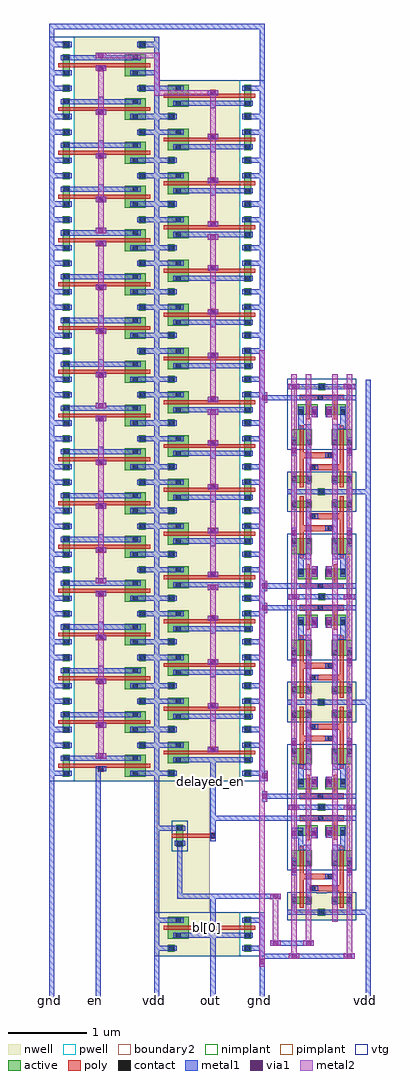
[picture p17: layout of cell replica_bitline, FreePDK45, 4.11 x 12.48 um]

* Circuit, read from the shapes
.subckt replica_bitline bl[0] delayed_en en gnd out vdd
M1 delay_chain_2/pinv_6_1/A en gnd gnd nfet w=0.09u l=0.05u
M2 delay_chain_2/pinv_6_1/Z delay_chain_2/pinv_6_1/A gnd gnd nfet w=0.09u l=0.05u
M3 delay_chain_2/pinv_6_3/Z delay_chain_2/pinv_6_1/A gnd gnd nfet w=0.09u l=0.05u
M4 delay_chain_2/pinv_6_5/Z delay_chain_2/pinv_6_1/A gnd gnd nfet w=0.09u l=0.05u
M5 delay_chain_2/pinv_6_11/A delay_chain_2/pinv_6_1/A gnd gnd nfet w=0.09u l=0.05u
M6 delay_chain_2/pinv_6_9/Z delay_chain_2/pinv_6_11/A gnd gnd nfet w=0.09u l=0.05u
M7 delay_chain_2/pinv_6_11/Z delay_chain_2/pinv_6_11/A gnd gnd nfet w=0.09u l=0.05u
M8 delay_chain_2/pinv_6_13/Z delay_chain_2/pinv_6_11/A gnd gnd nfet w=0.09u l=0.05u
M9 delay_chain_2/pinv_6_17/A delay_chain_2/pinv_6_11/A gnd gnd nfet w=0.09u l=0.05u
M10 delay_chain_2/pinv_6_17/Z delay_chain_2/pinv_6_17/A gnd gnd nfet w=0.09u l=0.05u
M11 delay_chain_2/pinv_6_19/Z delay_chain_2/pinv_6_17/A gnd gnd nfet w=0.09u l=0.05u
M12 delay_chain_2/pinv_6_21/Z delay_chain_2/pinv_6_17/A gnd gnd nfet w=0.09u l=0.05u
M13 delay_chain_2/pinv_6_25/A delay_chain_2/pinv_6_17/A gnd gnd nfet w=0.09u l=0.05u
M14 delay_chain_2/pinv_6_25/Z delay_chain_2/pinv_6_25/A gnd gnd nfet w=0.09u l=0.05u
M15 delay_chain_2/pinv_6_27/Z delay_chain_2/pinv_6_25/A gnd gnd nfet w=0.09u l=0.05u
M16 delay_chain_2/pinv_6_29/Z delay_chain_2/pinv_6_25/A gnd gnd nfet w=0.09u l=0.05u
M17 delay_chain_2/pinv_6_33/A delay_chain_2/pinv_6_25/A gnd gnd nfet w=0.09u l=0.05u
M18 gnd bl[0] out gnd nfet w=0.09u l=0.05u
M19 gnd delay_chain_2/pinv_6_57/A delayed_en gnd nfet w=0.09u l=0.05u
M20 gnd delay_chain_2/pinv_6_57/A delay_chain_2/pinv_6_61/Z gnd nfet w=0.09u l=0.05u
M21 gnd delay_chain_2/pinv_6_57/A delay_chain_2/pinv_6_59/Z gnd nfet w=0.09u l=0.05u
M22 gnd delay_chain_2/pinv_6_57/A delay_chain_2/pinv_6_57/Z gnd nfet w=0.09u l=0.05u
M23 gnd delay_chain_2/pinv_6_49/A delay_chain_2/pinv_6_57/A gnd nfet w=0.09u l=0.05u
M24 gnd delay_chain_2/pinv_6_49/A delay_chain_2/pinv_6_53/Z gnd nfet w=0.09u l=0.05u
M25 gnd delay_chain_2/pinv_6_49/A delay_chain_2/pinv_6_51/Z gnd nfet w=0.09u l=0.05u
M26 gnd delay_chain_2/pinv_6_49/A delay_chain_2/pinv_6_49/Z gnd nfet w=0.09u l=0.05u
M27 gnd delay_chain_2/pinv_6_41/A delay_chain_2/pinv_6_49/A gnd nfet w=0.09u l=0.05u
M28 gnd delay_chain_2/pinv_6_41/A delay_chain_2/pinv_6_45/Z gnd nfet w=0.09u l=0.05u
M29 gnd delay_chain_2/pinv_6_41/A delay_chain_2/pinv_6_43/Z gnd nfet w=0.09u l=0.05u
M30 gnd delay_chain_2/pinv_6_41/A delay_chain_2/pinv_6_41/Z gnd nfet w=0.09u l=0.05u
M31 gnd delay_chain_2/pinv_6_33/A delay_chain_2/pinv_6_41/A gnd nfet w=0.09u l=0.05u
M32 gnd delay_chain_2/pinv_6_33/A delay_chain_2/pinv_6_37/Z gnd nfet w=0.09u l=0.05u
M33 gnd delay_chain_2/pinv_6_33/A delay_chain_2/pinv_6_35/Z gnd nfet w=0.09u l=0.05u
M34 gnd delay_chain_2/pinv_6_33/A delay_chain_2/pinv_6_33/Z gnd nfet w=0.09u l=0.05u
M35 gnd n1 gnd gnd nfet w=0.205u l=0.05u
M36 n2 n3 gnd gnd nfet w=0.205u l=0.05u
M37 n4 n5 gnd gnd nfet w=0.205u l=0.05u
M38 n6 n7 gnd gnd nfet w=0.205u l=0.05u
M39 n8 n9 gnd gnd nfet w=0.205u l=0.05u
M40 bl[0] delayed_en gnd gnd nfet w=0.135u l=0.05u
M41 bl[0] gnd n2 gnd nfet w=0.135u l=0.05u
M42 bl[0] gnd n4 gnd nfet w=0.135u l=0.05u
M43 bl[0] gnd n6 gnd nfet w=0.135u l=0.05u
M44 bl[0] gnd n8 gnd nfet w=0.135u l=0.05u
M45 n1 delayed_en replica_cell_6t_3/BR gnd nfet w=0.135u l=0.05u
M46 n3 gnd replica_cell_6t_3/BR gnd nfet w=0.135u l=0.05u
M47 n5 gnd replica_cell_6t_3/BR gnd nfet w=0.135u l=0.05u
M48 n7 gnd replica_cell_6t_3/BR gnd nfet w=0.135u l=0.05u
M49 n9 gnd replica_cell_6t_3/BR gnd nfet w=0.135u l=0.05u
M50 gnd gnd n1 gnd nfet w=0.205u l=0.05u
M51 gnd n2 n3 gnd nfet w=0.205u l=0.05u
M52 gnd n4 n5 gnd nfet w=0.205u l=0.05u
M53 gnd n6 n7 gnd nfet w=0.205u l=0.05u
M54 gnd n8 n9 gnd nfet w=0.205u l=0.05u
M55 delay_chain_2/pinv_6_1/A en vdd vdd pfet w=0.27u l=0.05u
M56 delay_chain_2/pinv_6_1/Z delay_chain_2/pinv_6_1/A vdd vdd pfet w=0.27u l=0.05u
M57 delay_chain_2/pinv_6_3/Z delay_chain_2/pinv_6_1/A vdd vdd pfet w=0.27u l=0.05u
M58 delay_chain_2/pinv_6_5/Z delay_chain_2/pinv_6_1/A vdd vdd pfet w=0.27u l=0.05u
M59 delay_chain_2/pinv_6_11/A delay_chain_2/pinv_6_1/A vdd vdd pfet w=0.27u l=0.05u
M60 delay_chain_2/pinv_6_9/Z delay_chain_2/pinv_6_11/A vdd vdd pfet w=0.27u l=0.05u
M61 delay_chain_2/pinv_6_11/Z delay_chain_2/pinv_6_11/A vdd vdd pfet w=0.27u l=0.05u
M62 delay_chain_2/pinv_6_13/Z delay_chain_2/pinv_6_11/A vdd vdd pfet w=0.27u l=0.05u
M63 delay_chain_2/pinv_6_17/A delay_chain_2/pinv_6_11/A vdd vdd pfet w=0.27u l=0.05u
M64 delay_chain_2/pinv_6_17/Z delay_chain_2/pinv_6_17/A vdd vdd pfet w=0.27u l=0.05u
M65 delay_chain_2/pinv_6_19/Z delay_chain_2/pinv_6_17/A vdd vdd pfet w=0.27u l=0.05u
M66 delay_chain_2/pinv_6_21/Z delay_chain_2/pinv_6_17/A vdd vdd pfet w=0.27u l=0.05u
M67 delay_chain_2/pinv_6_25/A delay_chain_2/pinv_6_17/A vdd vdd pfet w=0.27u l=0.05u
M68 delay_chain_2/pinv_6_25/Z delay_chain_2/pinv_6_25/A vdd vdd pfet w=0.27u l=0.05u
M69 delay_chain_2/pinv_6_27/Z delay_chain_2/pinv_6_25/A vdd vdd pfet w=0.27u l=0.05u
M70 delay_chain_2/pinv_6_29/Z delay_chain_2/pinv_6_25/A vdd vdd pfet w=0.27u l=0.05u
M71 delay_chain_2/pinv_6_33/A delay_chain_2/pinv_6_25/A vdd vdd pfet w=0.27u l=0.05u
M72 vdd bl[0] out vdd pfet w=0.27u l=0.05u
M73 vdd delay_chain_2/pinv_6_57/A delayed_en vdd pfet w=0.27u l=0.05u
M74 vdd delay_chain_2/pinv_6_57/A delay_chain_2/pinv_6_61/Z vdd pfet w=0.27u l=0.05u
M75 vdd delay_chain_2/pinv_6_57/A delay_chain_2/pinv_6_59/Z vdd pfet w=0.27u l=0.05u
M76 vdd delay_chain_2/pinv_6_57/A delay_chain_2/pinv_6_57/Z vdd pfet w=0.27u l=0.05u
M77 vdd delay_chain_2/pinv_6_49/A delay_chain_2/pinv_6_57/A vdd pfet w=0.27u l=0.05u
M78 vdd delay_chain_2/pinv_6_49/A delay_chain_2/pinv_6_53/Z vdd pfet w=0.27u l=0.05u
M79 vdd delay_chain_2/pinv_6_49/A delay_chain_2/pinv_6_51/Z vdd pfet w=0.27u l=0.05u
M80 vdd delay_chain_2/pinv_6_49/A delay_chain_2/pinv_6_49/Z vdd pfet w=0.27u l=0.05u
M81 vdd delay_chain_2/pinv_6_41/A delay_chain_2/pinv_6_49/A vdd pfet w=0.27u l=0.05u
M82 vdd delay_chain_2/pinv_6_41/A delay_chain_2/pinv_6_45/Z vdd pfet w=0.27u l=0.05u
M83 vdd delay_chain_2/pinv_6_41/A delay_chain_2/pinv_6_43/Z vdd pfet w=0.27u l=0.05u
M84 vdd delay_chain_2/pinv_6_41/A delay_chain_2/pinv_6_41/Z vdd pfet w=0.27u l=0.05u
M85 vdd delay_chain_2/pinv_6_33/A delay_chain_2/pinv_6_41/A vdd pfet w=0.27u l=0.05u
M86 vdd delay_chain_2/pinv_6_33/A delay_chain_2/pinv_6_37/Z vdd pfet w=0.27u l=0.05u
M87 vdd delay_chain_2/pinv_6_33/A delay_chain_2/pinv_6_35/Z vdd pfet w=0.27u l=0.05u
M88 vdd delay_chain_2/pinv_6_33/A delay_chain_2/pinv_6_33/Z vdd pfet w=0.27u l=0.05u
M89 vdd delayed_en bl[0] vdd pfet w=0.09u l=0.05u
M90 gnd n1 vdd vdd pfet w=0.09u l=0.05u
M91 n2 n3 vdd vdd pfet w=0.09u l=0.05u
M92 n4 n5 vdd vdd pfet w=0.09u l=0.05u
M93 n6 n7 vdd vdd pfet w=0.09u l=0.05u
M94 n8 n9 vdd vdd pfet w=0.09u l=0.05u
M95 vdd gnd n1 vdd pfet w=0.09u l=0.05u
M96 vdd n2 n3 vdd pfet w=0.09u l=0.05u
M97 vdd n4 n5 vdd pfet w=0.09u l=0.05u
M98 vdd n6 n7 vdd pfet w=0.09u l=0.05u
M99 vdd n8 n9 vdd pfet w=0.09u l=0.05u
.ends

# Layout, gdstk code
from math import pi, radians
import gdstk
lib = gdstk.Library(unit=1e-6, precision=5e-10)
def R(c, l, rs):  # rectangles x0, y0, x1, y1
    for r in rs: c.add(gdstk.rectangle(r[:2], r[2:], *l))
def A(c, l, x, y, w, h, nx, ny, dx, dy):  # array of equal rectangles
    R(c, l, [(x+i*dx, y+j*dy, x+i*dx+w, y+j*dy+h) for i in range(nx) for j in range(ny)])
active = (1, 0)
pwell = (2, 0)
nwell = (3, 0)
nimplant = (4, 0)
pimplant = (5, 0)
vtg = (6, 0)
poly = (9, 0)
contact = (10, 0)
metal1 = (11, 0)
via1 = (12, 0)
metal2 = (13, 0)
boundary2 = (239, 0)

active_contact_metal1_1x = lib.new_cell('active_contact_metal1_1x1_pn')
R(active_contact_metal1_1x, active, [(0,0.0225,0.09,0.1125)])
R(active_contact_metal1_1x, nwell, [(-0.055,-0.0325,0.145,0.1675)])
R(active_contact_metal1_1x, pimplant, [(0,0.0225,0.09,0.1125)])
R(active_contact_metal1_1x, contact, [(0.0125,0.035,0.0775,0.1)])
R(active_contact_metal1_1x, metal1, [(0.0125,0,0.0775,0.135)])

pmos_m1_w0_27_a_p = lib.new_cell('pmos_m1_w0_27_a_p')
R(pmos_m1_w0_27_a_p, active, [(0,0,0.28,0.27)])
R(pmos_m1_w0_27_a_p, nwell, [(-0.055,-0.055,0.335,0.325)])
R(pmos_m1_w0_27_a_p, pimplant, [(0,0,0.28,0.27)])
R(pmos_m1_w0_27_a_p, vtg, [(-0.055,-0.055,0.335,0.325)])
R(pmos_m1_w0_27_a_p, poly, [(0.115,-0.055,0.165,0.325), (0.115,-0.055,0.165,0.325)])
R(pmos_m1_w0_27_a_p, metal1, [(0.0125,0.0675,0.0775,0.2025), (0.2025,0.0675,0.2675,0.2025)])
pmos_m1_w0_27_a_p.add(gdstk.Reference(active_contact_metal1_1x, (0,0.0675)))
pmos_m1_w0_27_a_p.add(gdstk.Reference(active_contact_metal1_1x, (0.19,0.0675)))
pmos_m1_w0_27_a_p.add(gdstk.Label('S', (0.0125,0.0675), layer=11, texttype=0))
pmos_m1_w0_27_a_p.add(gdstk.Label('D', (0.2025,0.0675), layer=11, texttype=0))
pmos_m1_w0_27_a_p.add(gdstk.Label('G', (0.115,-0.055), layer=9, texttype=0))

c_active_contact_metal1_1x = lib.new_cell('active_contact_metal1_1x1_np')
R(c_active_contact_metal1_1x, active, [(0,0.0225,0.09,0.1125)])
R(c_active_contact_metal1_1x, pwell, [(-0.055,-0.0325,0.145,0.1675)])
R(c_active_contact_metal1_1x, nimplant, [(0,0.0225,0.09,0.1125)])
R(c_active_contact_metal1_1x, contact, [(0.0125,0.035,0.0775,0.1)])
R(c_active_contact_metal1_1x, metal1, [(0.0125,0,0.0775,0.135)])

nmos_m1_w0_09_a_p = lib.new_cell('nmos_m1_w0_09_a_p')
R(nmos_m1_w0_09_a_p, active, [(0,0,0.28,0.09)])
R(nmos_m1_w0_09_a_p, pwell, [(-0.055,-0.055,0.335,0.145)])
R(nmos_m1_w0_09_a_p, nimplant, [(0,0,0.28,0.09)])
R(nmos_m1_w0_09_a_p, vtg, [(-0.055,-0.055,0.335,0.145)])
R(nmos_m1_w0_09_a_p, poly, [(0.115,-0.055,0.165,0.145), (0.115,-0.055,0.165,0.145)])
R(nmos_m1_w0_09_a_p, metal1, [(0.0125,-0.0225,0.0775,0.1125), (0.2025,-0.0225,0.2675,0.1125)])
nmos_m1_w0_09_a_p.add(gdstk.Reference(c_active_contact_metal1_1x, (0,-0.0225)))
nmos_m1_w0_09_a_p.add(gdstk.Reference(c_active_contact_metal1_1x, (0.19,-0.0225)))
nmos_m1_w0_09_a_p.add(gdstk.Label('S', (0.0125,-0.0225), layer=11, texttype=0))
nmos_m1_w0_09_a_p.add(gdstk.Label('D', (0.2025,-0.0225), layer=11, texttype=0))
nmos_m1_w0_09_a_p.add(gdstk.Label('G', (0.115,-0.055), layer=9, texttype=0))

c_active_contact_metal1_1x_ = lib.new_cell('active_contact_metal1_1x1_nn')
R(c_active_contact_metal1_1x_, active, [(0,0.0225,0.09,0.1125)])
R(c_active_contact_metal1_1x_, nwell, [(-0.055,-0.0325,0.145,0.1675)])
R(c_active_contact_metal1_1x_, nimplant, [(0,0.0225,0.09,0.1125)])
R(c_active_contact_metal1_1x_, contact, [(0.0125,0.035,0.0775,0.1)])
R(c_active_contact_metal1_1x_, metal1, [(0.0125,0,0.0775,0.135)])

c_active_contact_metal1_1x__ = lib.new_cell('active_contact_metal1_1x1_pp')
R(c_active_contact_metal1_1x__, active, [(0,0.0225,0.09,0.1125)])
R(c_active_contact_metal1_1x__, pwell, [(-0.055,-0.0325,0.145,0.1675)])
R(c_active_contact_metal1_1x__, pimplant, [(0,0.0225,0.09,0.1125)])
R(c_active_contact_metal1_1x__, contact, [(0.0125,0.035,0.0775,0.1)])
R(c_active_contact_metal1_1x__, metal1, [(0.0125,0,0.0775,0.135)])

poly_contact_metal1_1x1 = lib.new_cell('poly_contact_metal1_1x1')
R(poly_contact_metal1_1x1, poly, [(0,0.03,0.075,0.105)])
R(poly_contact_metal1_1x1, contact, [(0.005,0.035,0.07,0.1)])
R(poly_contact_metal1_1x1, metal1, [(0.005,0,0.07,0.135)])

pinv_7 = lib.new_cell('pinv_7')
R(pinv_7, pwell, [(0,-0.0325,0.56,0.285)])
R(pinv_7, nwell, [(0,0.285,0.56,1.3775)])
R(pinv_7, vtg, [(0,-0.0325,0.56,0.285), (0,0.285,0.56,1.3775)])
R(pinv_7, poly, [(0.17,0.085,0.22,0.88), (0.1575,0.59,0.17,0.665)])
R(pinv_7, metal1, [(0,-0.0325,0.56,0.0325), (0.0675,-0.0325,0.1325,0.1175), (0.4275,0,0.4925,0.185), (0.2575,0.1175,0.3225,1.0025), (0.125,0.56,0.19,0.695), (0.29,0.595,0.355,0.66), (0.0675,1.0025,0.1325,1.3775), (0.4275,1.16,0.4925,1.345), (0,1.3125,0.56,1.3775)])
pinv_7.add(gdstk.Reference(pmos_m1_w0_27_a_p, (0.055,0.935)))
pinv_7.add(gdstk.Reference(nmos_m1_w0_09_a_p, (0.055,0.14)))
pinv_7.add(gdstk.Reference(c_active_contact_metal1_1x_, (0.415,1.0925)))
pinv_7.add(gdstk.Reference(c_active_contact_metal1_1x__, (0.415,0.1175)))
pinv_7.add(gdstk.Reference(poly_contact_metal1_1x1, (0.12,0.56)))
pinv_7.add(gdstk.Label('A', (0.125,0.56), layer=11, texttype=0))
pinv_7.add(gdstk.Label('Z', (0.29,0.595), layer=11, texttype=0))
pinv_7.add(gdstk.Label('vdd', (0,1.3125), layer=11, texttype=0))
pinv_7.add(gdstk.Label('gnd', (0,-0.0325), layer=11, texttype=0))

pmos_m1_w0_09 = lib.new_cell('pmos_m1_w0_09')
R(pmos_m1_w0_09, active, [(0,0,0.28,0.09)])
R(pmos_m1_w0_09, nwell, [(-0.055,-0.055,0.335,0.145)])
R(pmos_m1_w0_09, pimplant, [(0,0,0.28,0.09)])
R(pmos_m1_w0_09, vtg, [(-0.055,-0.055,0.335,0.145)])
R(pmos_m1_w0_09, poly, [(0.115,-0.055,0.165,0.145), (0.115,-0.055,0.165,0.145)])
R(pmos_m1_w0_09, metal1, [(0.0125,-0.0225,0.0775,0.1125), (0.2025,-0.0225,0.2675,0.1125)])
pmos_m1_w0_09.add(gdstk.Reference(active_contact_metal1_1x, (0,-0.0225)))
pmos_m1_w0_09.add(gdstk.Reference(active_contact_metal1_1x, (0.19,-0.0225)))
pmos_m1_w0_09.add(gdstk.Label('S', (0.0125,-0.0225), layer=11, texttype=0))
pmos_m1_w0_09.add(gdstk.Label('D', (0.2025,-0.0225), layer=11, texttype=0))
pmos_m1_w0_09.add(gdstk.Label('G', (0.115,-0.055), layer=9, texttype=0))

pinv_6 = lib.new_cell('pinv_6')
R(pinv_6, pwell, [(0,-0.0325,0.56,0.285)])
R(pinv_6, nwell, [(0,0.285,0.56,1.3775)])
R(pinv_6, vtg, [(0,-0.0325,0.56,0.285), (0,0.285,0.56,1.3775)])
R(pinv_6, poly, [(0.17,0.085,0.22,0.88), (0.1575,0.59,0.17,0.665)])
R(pinv_6, metal1, [(0,-0.0325,0.56,0.0325), (0.0675,-0.0325,0.1325,0.1175), (0.4275,0,0.4925,0.185), (0.2575,0.1175,0.3225,1.0025), (0.125,0.56,0.19,0.695), (0.29,0.595,0.355,0.66), (0.0675,1.0025,0.1325,1.3775), (0.4275,1.16,0.4925,1.345), (0,1.3125,0.56,1.3775)])
pinv_6.add(gdstk.Reference(pmos_m1_w0_27_a_p, (0.055,0.935)))
pinv_6.add(gdstk.Reference(nmos_m1_w0_09_a_p, (0.055,0.14)))
pinv_6.add(gdstk.Reference(c_active_contact_metal1_1x_, (0.415,1.0925)))
pinv_6.add(gdstk.Reference(c_active_contact_metal1_1x__, (0.415,0.1175)))
pinv_6.add(gdstk.Reference(poly_contact_metal1_1x1, (0.12,0.56)))
pinv_6.add(gdstk.Label('A', (0.125,0.56), layer=11, texttype=0))
pinv_6.add(gdstk.Label('Z', (0.29,0.595), layer=11, texttype=0))
pinv_6.add(gdstk.Label('vdd', (0,1.3125), layer=11, texttype=0))
pinv_6.add(gdstk.Label('gnd', (0,-0.0325), layer=11, texttype=0))

metal1_via1_metal2_1x1 = lib.new_cell('metal1_via1_metal2_1x1')
R(metal1_via1_metal2_1x1, metal1, [(0.0025,0,0.0675,0.135)])
R(metal1_via1_metal2_1x1, via1, [(0.0025,0.035,0.0675,0.1)])
R(metal1_via1_metal2_1x1, metal2, [(0,0,0.07,0.135)])

delay_chain = lib.new_cell('delay_chain')
A(delay_chain, metal1, 0, -0.0325, 9.52, 0.065, 1, 3, 0, 1.345)
R(delay_chain, metal1, [(9.52,-0.0325,9.65,0.0325), (9.6175,-0.0325,9.6825,0.0325), (9.6175,0,9.6825,2.69), (0,0.595,0.205,0.66), (0.125,1.995,0.19,2.13), (9.52,2.6575,9.65,2.7225), (9.6175,2.6575,9.6825,2.7225)])
A(delay_chain, metal2, 0.4025, 0.5925, 0.56, 0.07, 3, 1, 0.56, 0)
A(delay_chain, metal2, 2.0825, 0.5925, 0.395, 0.07, 3, 1, 2.24, 0)
A(delay_chain, metal2, 2.6425, 0.5925, 0.56, 0.07, 3, 1, 0.56, 0)
A(delay_chain, metal2, 4.8825, 0.5925, 0.56, 0.07, 3, 1, 0.56, 0)
A(delay_chain, metal2, 7.1225, 0.5925, 0.56, 0.07, 3, 1, 0.56, 0)
A(delay_chain, metal2, 0.3225, 2.0275, 0.395, 0.07, 4, 1, 2.24, 0)
A(delay_chain, metal2, 0.7175, 2.0275, 0.56, 0.07, 3, 1, 0.56, 0)
A(delay_chain, metal2, 2.9575, 2.0275, 0.56, 0.07, 3, 1, 0.56, 0)
A(delay_chain, metal2, 5.1975, 2.0275, 0.56, 0.07, 3, 1, 0.56, 0)
A(delay_chain, metal2, 7.4375, 2.0275, 0.56, 0.07, 3, 1, 0.56, 0)
R(delay_chain, metal2, [(8.7675,0.6275,8.8375,1.345), (8.7675,1.31,8.8375,1.38), (8.8025,1.31,9.2825,1.38), (9.2475,1.31,9.3175,1.38), (9.2475,1.345,9.3175,2.0625)])
delay_chain.add(gdstk.Reference(pinv_6, (0,2.69), x_reflection=True))
delay_chain.add(gdstk.Reference(pinv_6, (0.56,2.69), x_reflection=True))
delay_chain.add(gdstk.Reference(metal1_via1_metal2_1x1, (0.6825,1.995)))
delay_chain.add(gdstk.Reference(pinv_6, (1.12,2.69), x_reflection=True))
delay_chain.add(gdstk.Reference(metal1_via1_metal2_1x1, (1.2425,1.995)))
delay_chain.add(gdstk.Reference(pinv_6, (1.68,2.69), x_reflection=True))
delay_chain.add(gdstk.Reference(metal1_via1_metal2_1x1, (1.8025,1.995)))
delay_chain.add(gdstk.Reference(pinv_6, (2.24,2.69), x_reflection=True))
delay_chain.add(gdstk.Reference(metal1_via1_metal2_1x1, (2.3625,1.995)))
delay_chain.add(gdstk.Reference(pinv_6, (2.8,2.69), x_reflection=True))
delay_chain.add(gdstk.Reference(metal1_via1_metal2_1x1, (2.9225,1.995)))
delay_chain.add(gdstk.Reference(pinv_6, (3.36,2.69), x_reflection=True))
delay_chain.add(gdstk.Reference(metal1_via1_metal2_1x1, (3.4825,1.995)))
delay_chain.add(gdstk.Reference(pinv_6, (3.92,2.69), x_reflection=True))
delay_chain.add(gdstk.Reference(metal1_via1_metal2_1x1, (4.0425,1.995)))
delay_chain.add(gdstk.Reference(pinv_6, (4.48,2.69), x_reflection=True))
delay_chain.add(gdstk.Reference(metal1_via1_metal2_1x1, (4.6025,1.995)))
delay_chain.add(gdstk.Reference(pinv_6, (5.04,2.69), x_reflection=True))
delay_chain.add(gdstk.Reference(metal1_via1_metal2_1x1, (5.1625,1.995)))
delay_chain.add(gdstk.Reference(pinv_6, (5.6,2.69), x_reflection=True))
delay_chain.add(gdstk.Reference(metal1_via1_metal2_1x1, (5.7225,1.995)))
delay_chain.add(gdstk.Reference(pinv_6, (6.16,2.69), x_reflection=True))
delay_chain.add(gdstk.Reference(metal1_via1_metal2_1x1, (6.2825,1.995)))
delay_chain.add(gdstk.Reference(pinv_6, (6.72,2.69), x_reflection=True))
delay_chain.add(gdstk.Reference(metal1_via1_metal2_1x1, (6.8425,1.995)))
delay_chain.add(gdstk.Reference(pinv_6, (7.28,2.69), x_reflection=True))
delay_chain.add(gdstk.Reference(metal1_via1_metal2_1x1, (7.4025,1.995)))
delay_chain.add(gdstk.Reference(pinv_6, (7.84,2.69), x_reflection=True))
delay_chain.add(gdstk.Reference(metal1_via1_metal2_1x1, (7.9625,1.995)))
delay_chain.add(gdstk.Reference(pinv_6, (8.4,2.69), x_reflection=True))
delay_chain.add(gdstk.Reference(metal1_via1_metal2_1x1, (8.5225,1.995)))
delay_chain.add(gdstk.Reference(pinv_6, (8.96,2.69), x_reflection=True))
delay_chain.add(gdstk.Reference(metal1_via1_metal2_1x1, (9.0825,1.995)))
delay_chain.add(gdstk.Reference(pinv_6, (8.96,0), rotation=pi, x_reflection=True))
delay_chain.add(gdstk.Reference(metal1_via1_metal2_1x1, (8.7675,0.56)))
delay_chain.add(gdstk.Reference(pinv_6, (8.4,0), rotation=pi, x_reflection=True))
delay_chain.add(gdstk.Reference(metal1_via1_metal2_1x1, (8.2075,0.56)))
delay_chain.add(gdstk.Reference(pinv_6, (7.84,0), rotation=pi, x_reflection=True))
delay_chain.add(gdstk.Reference(metal1_via1_metal2_1x1, (7.6475,0.56)))
delay_chain.add(gdstk.Reference(pinv_6, (7.28,0), rotation=pi, x_reflection=True))
delay_chain.add(gdstk.Reference(metal1_via1_metal2_1x1, (7.0875,0.56)))
delay_chain.add(gdstk.Reference(pinv_6, (6.72,0), rotation=pi, x_reflection=True))
delay_chain.add(gdstk.Reference(metal1_via1_metal2_1x1, (6.5275,0.56)))
delay_chain.add(gdstk.Reference(pinv_6, (6.16,0), rotation=pi, x_reflection=True))
delay_chain.add(gdstk.Reference(metal1_via1_metal2_1x1, (5.9675,0.56)))
delay_chain.add(gdstk.Reference(pinv_6, (5.6,0), rotation=pi, x_reflection=True))
delay_chain.add(gdstk.Reference(metal1_via1_metal2_1x1, (5.4075,0.56)))
delay_chain.add(gdstk.Reference(pinv_6, (5.04,0), rotation=pi, x_reflection=True))
delay_chain.add(gdstk.Reference(metal1_via1_metal2_1x1, (4.8475,0.56)))
delay_chain.add(gdstk.Reference(pinv_6, (4.48,0), rotation=pi, x_reflection=True))
delay_chain.add(gdstk.Reference(metal1_via1_metal2_1x1, (4.2875,0.56)))
delay_chain.add(gdstk.Reference(pinv_6, (3.92,0), rotation=pi, x_reflection=True))
delay_chain.add(gdstk.Reference(metal1_via1_metal2_1x1, (3.7275,0.56)))
delay_chain.add(gdstk.Reference(pinv_6, (3.36,0), rotation=pi, x_reflection=True))
delay_chain.add(gdstk.Reference(metal1_via1_metal2_1x1, (3.1675,0.56)))
delay_chain.add(gdstk.Reference(pinv_6, (2.8,0), rotation=pi, x_reflection=True))
delay_chain.add(gdstk.Reference(metal1_via1_metal2_1x1, (2.6075,0.56)))
delay_chain.add(gdstk.Reference(pinv_6, (2.24,0), rotation=pi, x_reflection=True))
delay_chain.add(gdstk.Reference(metal1_via1_metal2_1x1, (2.0475,0.56)))
delay_chain.add(gdstk.Reference(pinv_6, (1.68,0), rotation=pi, x_reflection=True))
delay_chain.add(gdstk.Reference(metal1_via1_metal2_1x1, (1.4875,0.56)))
delay_chain.add(gdstk.Reference(pinv_6, (1.12,0), rotation=pi, x_reflection=True))
delay_chain.add(gdstk.Reference(metal1_via1_metal2_1x1, (0.9275,0.56)))
delay_chain.add(gdstk.Reference(pinv_6, (0.56,0), rotation=pi, x_reflection=True))
delay_chain.add(gdstk.Reference(metal1_via1_metal2_1x1, (0.3675,0.56)))
delay_chain.add(gdstk.Reference(metal1_via1_metal2_1x1, (0.2875,1.995)))
delay_chain.add(gdstk.Reference(metal1_via1_metal2_1x1, (2.5275,1.995)))
delay_chain.add(gdstk.Reference(metal1_via1_metal2_1x1, (4.7675,1.995)))
delay_chain.add(gdstk.Reference(metal1_via1_metal2_1x1, (7.0075,1.995)))
delay_chain.add(gdstk.Reference(metal1_via1_metal2_1x1, (9.2475,1.995)))
delay_chain.add(gdstk.Reference(metal1_via1_metal2_1x1, (6.9225,0.56)))
delay_chain.add(gdstk.Reference(metal1_via1_metal2_1x1, (4.6825,0.56)))
delay_chain.add(gdstk.Reference(metal1_via1_metal2_1x1, (2.4425,0.56)))
delay_chain.add(gdstk.Label('out', (0,0.595), layer=11, texttype=0))
delay_chain.add(gdstk.Label('vdd', (0,1.3125), layer=11, texttype=0))
delay_chain.add(gdstk.Label('gnd', (0,-0.0325), layer=11, texttype=0))
delay_chain.add(gdstk.Label('gnd', (0,2.6575), layer=11, texttype=0))
delay_chain.add(gdstk.Label('in', (0.125,1.995), layer=11, texttype=0))

replica_cell_6t = lib.new_cell('replica_cell_6t')
R(replica_cell_6t, active, [(0.3025,-0.045,0.3925,0.045), (0.4,0.2275,0.66,0.3625), (0.4,0.2275,0.475,0.3625), (0.4,0.2275,0.475,0.3625), (0.585,0.2275,0.66,0.3625), (0.585,0.2275,0.66,0.3625), (0.045,0.2325,0.305,0.3675), (0.045,0.2325,0.12,0.3675), (0.045,0.2325,0.12,0.3675), (0.23,0.2325,0.305,0.3675), (0.23,0.2325,0.305,0.3675), (0.4,0.2875,0.475,0.3625), (0.585,0.2875,0.66,0.3625), (0.045,0.2925,0.12,0.3675), (0.23,0.2925,0.305,0.3675), (-0.035,0.5475,0.225,0.7525), (-0.035,0.5475,0.04,0.7525), (-0.035,0.5475,0.04,0.7525), (0.15,0.5475,0.225,0.7525), (0.15,0.5475,0.225,0.7525), (0.48,0.5475,0.74,0.7525), (0.48,0.5475,0.555,0.7525), (0.48,0.5475,0.555,0.7525), (0.665,0.5475,0.74,0.7525), (0.665,0.5475,0.74,0.7525), (-0.035,0.6775,0.04,0.7525), (0.15,0.6775,0.225,0.7525), (0.48,0.6775,0.555,0.7525), (0.665,0.6775,0.74,0.7525), (-0.035,1.1425,0.04,1.2175), (-0.035,1.1425,0.225,1.2325), (-0.035,1.1425,0.04,1.2325), (-0.035,1.1425,0.04,1.2325), (0.15,1.1425,0.225,1.2175), (0.15,1.1425,0.225,1.2325), (0.15,1.1425,0.225,1.2325), (0.48,1.1425,0.555,1.2175), (0.48,1.1425,0.74,1.2325), (0.48,1.1425,0.555,1.2325), (0.48,1.1425,0.555,1.2325), (0.665,1.1425,0.74,1.2175), (0.665,1.1425,0.74,1.2325), (0.665,1.1425,0.74,1.2325), (0.305,1.3,0.395,1.39)])
R(replica_cell_6t, pwell, [(-0.09,-0.1,0.795,0.8075), (0.2475,-0.1,0.4475,0.1), (0.345,0.1725,0.715,0.4175), (-0.01,0.1775,0.36,0.4225), (-0.09,0.4925,0.28,0.8075), (0.425,0.4925,0.795,0.8075)])
R(replica_cell_6t, nwell, [(-0.09,1.0875,0.28,1.2875), (-0.09,1.0875,0.795,1.445), (0.425,1.0875,0.795,1.2875), (0.25,1.245,0.45,1.445)])
R(replica_cell_6t, nimplant, [(0.4,0.2275,0.66,0.3625), (0.045,0.2325,0.305,0.3675), (-0.035,0.5475,0.225,0.7525), (0.48,0.5475,0.74,0.7525), (0.305,1.3,0.395,1.39)])
R(replica_cell_6t, pimplant, [(0.3025,-0.045,0.3925,0.045), (-0.035,1.1425,0.225,1.2325), (0.48,1.1425,0.74,1.2325)])
R(replica_cell_6t, vtg, [(-0.09,-0.1,0.795,0.8075), (0.345,0.1725,0.715,0.4175), (-0.01,0.1775,0.36,0.4225), (-0.09,0.4925,0.28,0.8075), (0.425,0.4925,0.795,0.8075), (-0.09,1.0875,0.28,1.2875), (0.425,1.0875,0.795,1.2875), (-0.09,1.0925,0.795,1.445)])
R(replica_cell_6t, poly, [(0.07,0.1025,0.635,0.1775), (0.305,0.1025,0.38,0.1775), (0.505,0.1725,0.555,0.2275), (0.505,0.1725,0.555,0.4175), (0.15,0.1775,0.2,0.2325), (0.15,0.1775,0.2,0.4225), (0.505,0.3625,0.555,0.4175), (0.15,0.3675,0.2,0.4225), (0.07,0.4925,0.12,0.5475), (0.07,0.4925,0.12,0.8075), (0.585,0.4925,0.635,0.5475), (0.585,0.4925,0.635,0.8075), (0.07,0.7525,0.12,0.8075), (0.585,0.7525,0.635,0.8075), (0.07,0.8075,0.12,1.0925), (0.585,0.8075,0.635,1.0925), (0.12,0.8475,0.5025,0.9225), (0.4275,0.8475,0.5025,0.9225), (0.2025,0.9975,0.2775,1.0725), (0.2025,0.9975,0.585,1.0725), (0.07,1.0875,0.12,1.1425), (0.07,1.0875,0.12,1.2875), (0.585,1.0875,0.635,1.1425), (0.585,1.0875,0.635,1.2875), (0.07,1.2325,0.12,1.2875), (0.585,1.2325,0.635,1.2875)])
R(replica_cell_6t, contact, [(0.315,-0.0325,0.38,0.0325), (0.31,0.1075,0.375,0.1725), (0.405,0.2925,0.47,0.3575), (0.59,0.2925,0.655,0.3575), (0.05,0.2975,0.115,0.3625), (0.235,0.2975,0.3,0.3625), (-0.03,0.6825,0.035,0.7475), (0.155,0.6825,0.22,0.7475), (0.485,0.6825,0.55,0.7475), (0.67,0.6825,0.735,0.7475), (0.4325,0.8525,0.4975,0.9175), (0.2075,1.0025,0.2725,1.0675), (-0.03,1.1475,0.035,1.2125), (0.155,1.1475,0.22,1.2125), (0.485,1.1475,0.55,1.2125), (0.67,1.1475,0.735,1.2125), (0.3175,1.3125,0.3825,1.3775)])
R(replica_cell_6t, metal1, [(-0.09,-0.0325,0.795,0.0325), (-0.0675,-0.0325,0.0675,0.0325), (0.28,-0.0325,0.415,0.0325), (0.6375,-0.0325,0.7725,0.0325), (-0.09,0.1075,0.795,0.1725), (-0.09,0.1075,0.795,0.1725), (-0.035,0.1075,0.035,0.1725), (0.275,0.1075,0.41,0.1725), (0.405,0.2575,0.47,0.3925), (0.42,0.2575,0.485,0.3925), (0.59,0.2575,0.655,0.3925), (-0.0325,0.2625,0.0325,0.3975), (0,0.2625,0.0525,0.3975), (0.05,0.2625,0.115,0.3975), (0.22,0.2625,0.285,0.3975), (0.235,0.2625,0.3,0.3975), (0.59,0.3925,0.655,0.5475), (0.05,0.3975,0.115,0.5475), (0.115,0.4825,0.22,0.5475), (0.485,0.4825,0.59,0.5475), (0.155,0.5475,0.22,0.6475), (0.485,0.5475,0.55,0.6475), (-0.03,0.6475,0.035,0.7825), (0.155,0.6475,0.22,0.7825), (0.155,0.6475,0.22,1.1375), (0.485,0.6475,0.55,0.7825), (0.485,0.6475,0.55,1.1375), (0.67,0.6475,0.735,0.7825), (-0.0325,0.7375,0.0325,0.8725), (0.6725,0.7375,0.7375,0.8725), (0.3975,0.8525,0.5325,0.9175), (0.1725,1.0025,0.3075,1.0675), (-0.03,1.1125,0.035,1.2475), (0.155,1.1125,0.22,1.2475), (0.485,1.1125,0.55,1.2475), (0.67,1.1125,0.735,1.2475), (-0.03,1.2475,0.035,1.3125), (0.67,1.2475,0.735,1.3125), (-0.09,1.3125,0.795,1.3775), (-0.09,1.3125,0.795,1.3775), (0.2825,1.3125,0.4175,1.3775), (0.3175,1.3125,0.3825,1.3775)])
R(replica_cell_6t, via1, [(-0.0325,-0.0325,0.0325,0.0325), (0.6725,-0.0325,0.7375,0.0325), (0.42,0.2925,0.485,0.3575), (-0.0325,0.2975,0.0325,0.3625), (0.22,0.2975,0.285,0.3625), (-0.0325,0.7725,0.0325,0.8375), (0.6725,0.7725,0.7375,0.8375)])
R(replica_cell_6t, metal2, [(-0.035,-0.1,0.035,1.445), (-0.035,-0.1,0.035,1.445), (0.15,-0.1,0.22,1.4575), (0.15,-0.1,0.22,1.4575), (0.485,-0.1,0.555,1.465), (0.485,-0.1,0.555,1.465), (0.67,-0.1,0.74,1.4675), (-0.0675,-0.035,0.0675,0.035), (-0.035,-0.035,0.035,0.035), (0.6375,-0.035,0.7725,0.035), (0.15,-0.0325,0.22,0.0325), (0.485,-0.0325,0.555,0.0325), (0.4175,0.2575,0.4875,0.3925), (-0.035,0.2625,0.035,0.3975), (0.2175,0.2625,0.2875,0.3975), (-0.035,0.7375,0.035,0.8725), (0.67,0.7375,0.74,0.8725)])
R(replica_cell_6t, boundary2, [(0,0,0.71,1.345)])
replica_cell_6t.add(gdstk.Label('gnd', (-0.0075,0.01), layer=13, texttype=0))
replica_cell_6t.add(gdstk.Label('BR', (0.51,-0.0025), layer=13, texttype=0))
replica_cell_6t.add(gdstk.Label('BL', (0.1825,0.0025), layer=13, texttype=0))
replica_cell_6t.add(gdstk.Label('vdd', (0.3475,1.35), layer=11, texttype=0))
replica_cell_6t.add(gdstk.Label('WL', (0.0025,0.1425), layer=11, texttype=0))
replica_cell_6t.add(gdstk.Label('l = 0.05', (0.565,0.295), layer=230, texttype=0))
replica_cell_6t.add(gdstk.Label('w = 0.14', (0.53,0.1625), layer=230, texttype=0))
replica_cell_6t.add(gdstk.Label('l = 0.05', (0.21,0.3), layer=230, texttype=0))
replica_cell_6t.add(gdstk.Label('w = 0.14', (0.175,0.1675), layer=230, texttype=0))
replica_cell_6t.add(gdstk.Label('l = 0.05', (0.645,0.65), layer=230, texttype=0))
replica_cell_6t.add(gdstk.Label('w = 0.21', (0.61,0.4825), layer=230, texttype=0))
replica_cell_6t.add(gdstk.Label('l = 0.05', (0.13,0.65), layer=230, texttype=0))
replica_cell_6t.add(gdstk.Label('w = 0.21', (0.095,0.4825), layer=230, texttype=0))
replica_cell_6t.add(gdstk.Label('l = 0.05', (0.645,1.1875), layer=230, texttype=0))
replica_cell_6t.add(gdstk.Label('w = 0.09', (0.61,1.2975), layer=230, texttype=0))
replica_cell_6t.add(gdstk.Label('l = 0.05', (0.13,1.1875), layer=230, texttype=0))
replica_cell_6t.add(gdstk.Label('w = 0.09', (0.095,1.2975), layer=230, texttype=0))
replica_cell_6t.add(gdstk.Label('BL', (0.15,-0.1), layer=13, texttype=0))
replica_cell_6t.add(gdstk.Label('WL', (-0.09,0.1075), layer=11, texttype=0))
replica_cell_6t.add(gdstk.Label('gnd', (-0.035,-0.1), layer=13, texttype=0))
replica_cell_6t.add(gdstk.Label('vdd', (-0.09,1.3125), layer=11, texttype=0))
replica_cell_6t.add(gdstk.Label('BR', (0.485,-0.1), layer=13, texttype=0))

cell_6t = lib.new_cell('cell_6t')
R(cell_6t, active, [(0.3075,-0.045,0.3975,0.045), (0.3075,-0.045,0.3975,0.045), (0.045,0.2275,0.305,0.3625), (0.045,0.2275,0.12,0.3625), (0.045,0.2275,0.12,0.3625), (0.23,0.2275,0.305,0.3625), (0.23,0.2275,0.305,0.3625), (0.4,0.2275,0.66,0.3625), (0.4,0.2275,0.475,0.3625), (0.4,0.2275,0.475,0.3625), (0.585,0.2275,0.66,0.3625), (0.585,0.2275,0.66,0.3625), (0.045,0.2875,0.12,0.3625), (0.23,0.2875,0.305,0.3625), (0.4,0.2875,0.475,0.3625), (0.585,0.2875,0.66,0.3625), (-0.035,0.5475,0.225,0.7525), (-0.035,0.5475,0.04,0.7525), (-0.035,0.5475,0.04,0.7525), (0.15,0.5475,0.225,0.7525), (0.15,0.5475,0.225,0.7525), (0.48,0.5475,0.74,0.7525), (0.48,0.5475,0.555,0.7525), (0.48,0.5475,0.555,0.7525), (0.665,0.5475,0.74,0.7525), (0.665,0.5475,0.74,0.7525), (-0.035,0.6775,0.04,0.7525), (0.15,0.6775,0.225,0.7525), (0.48,0.6775,0.555,0.7525), (0.665,0.6775,0.74,0.7525), (-0.035,1.1425,0.04,1.2175), (-0.035,1.1425,0.225,1.2325), (-0.035,1.1425,0.04,1.2325), (-0.035,1.1425,0.04,1.2325), (0.15,1.1425,0.225,1.2175), (0.15,1.1425,0.225,1.2325), (0.15,1.1425,0.225,1.2325), (0.48,1.1425,0.555,1.2175), (0.48,1.1425,0.74,1.2325), (0.48,1.1425,0.555,1.2325), (0.48,1.1425,0.555,1.2325), (0.665,1.1425,0.74,1.2175), (0.665,1.1425,0.74,1.2325), (0.665,1.1425,0.74,1.2325), (0.3025,1.3,0.3925,1.39), (0.3025,1.3,0.3925,1.39)])
R(cell_6t, pwell, [(-0.09,-0.1,0.795,0.8075), (0.2525,-0.1,0.4525,0.1), (0.2525,-0.1,0.4525,0.1), (-0.01,0.1725,0.36,0.4175), (0.345,0.1725,0.715,0.4175), (-0.09,0.4925,0.28,0.8075), (0.425,0.4925,0.795,0.8075)])
R(cell_6t, nwell, [(-0.09,1.0875,0.28,1.2875), (-0.09,1.0875,0.795,1.445), (0.425,1.0875,0.795,1.2875), (0.2475,1.245,0.4475,1.445), (0.2475,1.245,0.4475,1.445)])
R(cell_6t, nimplant, [(0.045,0.2275,0.305,0.3625), (0.4,0.2275,0.66,0.3625), (-0.035,0.5475,0.225,0.7525), (0.48,0.5475,0.74,0.7525), (0.3025,1.3,0.3925,1.39), (0.3025,1.3,0.3925,1.39)])
R(cell_6t, pimplant, [(0.3075,-0.045,0.3975,0.045), (0.3075,-0.045,0.3975,0.045), (-0.035,1.1425,0.225,1.2325), (0.48,1.1425,0.74,1.2325)])
R(cell_6t, vtg, [(-0.09,-0.1,0.795,0.8075), (-0.01,0.1725,0.36,0.4175), (0.345,0.1725,0.715,0.4175), (-0.09,0.4925,0.28,0.8075), (0.425,0.4925,0.795,0.8075), (-0.09,1.0875,0.28,1.2875), (-0.09,1.0875,0.795,1.445), (0.425,1.0875,0.795,1.2875)])
R(cell_6t, poly, [(0.07,0.1025,0.635,0.1775), (0.2975,0.1025,0.3725,0.1775), (0.15,0.1725,0.2,0.2275), (0.15,0.1725,0.2,0.4175), (0.505,0.1725,0.555,0.2275), (0.505,0.1725,0.555,0.4175), (0.15,0.3625,0.2,0.4175), (0.505,0.3625,0.555,0.4175), (0.07,0.4925,0.12,0.5475), (0.07,0.4925,0.12,0.8075), (0.585,0.4925,0.635,0.5475), (0.585,0.4925,0.635,0.8075), (0.07,0.7525,0.12,0.8075), (0.585,0.7525,0.635,0.8075), (0.07,0.8075,0.12,1.0875), (0.07,0.8075,0.12,1.0875), (0.585,0.8075,0.635,1.0875), (0.585,0.8075,0.635,1.0875), (0.07,0.8425,0.5025,0.9175), (0.4275,0.8425,0.5025,0.9175), (0.4275,0.8425,0.5025,0.9175), (0.2025,0.9925,0.2775,1.0675), (0.2025,0.9925,0.2775,1.0675), (0.2025,0.9925,0.635,1.0675), (0.07,1.0875,0.12,1.1425), (0.07,1.0875,0.12,1.2875), (0.585,1.0875,0.635,1.1425), (0.585,1.0875,0.635,1.2875), (0.07,1.2325,0.12,1.2875), (0.585,1.2325,0.635,1.2875)])
R(cell_6t, contact, [(0.32,-0.0325,0.385,0.0325), (0.32,-0.0325,0.385,0.0325), (0.3025,0.1075,0.3675,0.1725), (0.05,0.2925,0.115,0.3575), (0.235,0.2925,0.3,0.3575), (0.405,0.2925,0.47,0.3575), (0.59,0.2925,0.655,0.3575), (-0.03,0.6825,0.035,0.7475), (0.155,0.6825,0.22,0.7475), (0.485,0.6825,0.55,0.7475), (0.67,0.6825,0.735,0.7475), (0.4325,0.8475,0.4975,0.9125), (0.4325,0.8475,0.4975,0.9125), (0.2075,0.9975,0.2725,1.0625), (0.2075,0.9975,0.2725,1.0625), (-0.03,1.1475,0.035,1.2125), (0.155,1.1475,0.22,1.2125), (0.485,1.1475,0.55,1.2125), (0.67,1.1475,0.735,1.2125), (0.315,1.3125,0.38,1.3775), (0.315,1.3125,0.38,1.3775)])
R(cell_6t, metal1, [(-0.09,-0.0325,0.795,0.0325), (-0.09,-0.0325,0.795,0.0325), (-0.0675,-0.0325,0.0675,0.0325), (-0.0675,-0.0325,0.0675,0.0325), (0.285,-0.0325,0.42,0.0325), (0.285,-0.0325,0.42,0.0325), (0.6375,-0.0325,0.7725,0.0325), (0.6375,-0.0325,0.7725,0.0325), (0.6375,-0.0325,0.7725,0.0325), (0.6375,-0.0325,0.7725,0.0325), (-0.09,0.1075,0.795,0.1725), (-0.09,0.1075,0.795,0.1725), (0.2675,0.1075,0.4025,0.1725), (-0.085,0.11,-0.0325,0.1725), (0.62,0.11,0.6725,0.1725), (0.05,0.2575,0.115,0.3925), (0.05,0.2575,0.12,0.5475), (0.2225,0.2575,0.2875,0.3925), (0.235,0.2575,0.3,0.3925), (0.405,0.2575,0.47,0.3925), (0.4175,0.2575,0.4825,0.3925), (0.59,0.2575,0.655,0.3925), (0.59,0.2575,0.66,0.5475), (0.05,0.4825,0.22,0.5475), (0.155,0.4825,0.22,1.2225), (0.485,0.4825,0.66,0.5475), (0.485,0.4825,0.55,1.1125), (-0.035,0.6475,0.035,0.7825), (-0.035,0.6475,0.035,0.7825), (-0.03,0.6475,0.035,0.7825), (0.155,0.6475,0.22,0.7825), (0.485,0.6475,0.55,0.7825), (0.67,0.6475,0.735,0.7825), (0.67,0.6475,0.74,0.7825), (0.67,0.6475,0.74,0.7825), (0.67,0.6475,0.74,0.7825), (0.67,0.6475,0.74,0.7825), (0.67,0.6475,0.74,0.7825), (0.67,0.6475,0.74,0.7825), (-0.0325,0.75,0.0325,0.885), (-0.0325,0.75,0.0325,0.885), (-0.0325,0.75,0.0325,0.885), (-0.0325,0.75,0.0325,0.885), (-0.0325,0.75,0.0325,0.885), (-0.0325,0.75,0.0325,0.885), (0.6725,0.75,0.7375,0.885), (0.6725,0.75,0.7375,0.885), (0.6725,0.75,0.7375,0.885), (0.6725,0.75,0.7375,0.885), (0.6725,0.75,0.7375,0.885), (0.6725,0.75,0.7375,0.885), (0.6725,0.75,0.7375,0.885), (0.6725,0.75,0.7375,0.885), (0.6725,0.75,0.7375,0.885), (0.6725,0.75,0.7375,0.885), (0.6725,0.75,0.7375,0.885), (0.6725,0.75,0.7375,0.885), (0.6725,0.75,0.7375,0.885), (0.6725,0.75,0.7375,0.885), (0.6725,0.75,0.7375,0.885), (0.6725,0.75,0.7375,0.885), (0.6725,0.75,0.7375,0.885), (0.6725,0.75,0.7375,0.885), (0.6725,0.75,0.7375,0.885), (0.6725,0.75,0.7375,0.885), (0.6725,0.75,0.7375,0.885), (0.6725,0.75,0.7375,0.885), (0.6725,0.75,0.7375,0.885), (0.6725,0.75,0.7375,0.885), (0.3975,0.8475,0.5325,0.9125), (0.3975,0.8475,0.5325,0.9125), (0.1725,0.9975,0.3075,1.0625), (0.1725,0.9975,0.3075,1.0625), (-0.035,1.1125,0.035,1.3125), (-0.03,1.1125,0.035,1.2475), (0.155,1.1125,0.22,1.2475), (0.485,1.1125,0.55,1.2475), (0.67,1.1125,0.735,1.2475), (0.67,1.1125,0.74,1.3125), (0.67,1.1125,0.74,1.3125), (-0.09,1.3125,0.795,1.3775), (-0.09,1.3125,0.795,1.3775), (0.28,1.3125,0.415,1.3775), (0.28,1.3125,0.415,1.3775), (0.2925,1.3125,0.3925,1.375), (0.2925,1.3125,0.3925,1.375), (0.2925,1.315,0.3925,1.3775), (0.2925,1.315,0.3925,1.3775)])
R(cell_6t, via1, [(-0.0325,-0.0325,0.0325,0.0325), (-0.0325,-0.0325,0.0325,0.0325), (0.6725,-0.0325,0.7375,0.0325), (0.6725,-0.0325,0.7375,0.0325), (0.6725,-0.0325,0.7375,0.0325), (0.6725,-0.0325,0.7375,0.0325), (0.2225,0.2925,0.2875,0.3575), (0.4175,0.2925,0.4825,0.3575), (-0.0325,0.785,0.0325,0.85), (-0.0325,0.785,0.0325,0.85), (-0.0325,0.785,0.0325,0.85), (-0.0325,0.785,0.0325,0.85), (-0.0325,0.785,0.0325,0.85), (-0.0325,0.785,0.0325,0.85), (0.6725,0.785,0.7375,0.85), (0.6725,0.785,0.7375,0.85), (0.6725,0.785,0.7375,0.85), (0.6725,0.785,0.7375,0.85), (0.6725,0.785,0.7375,0.85), (0.6725,0.785,0.7375,0.85), (0.6725,0.785,0.7375,0.85), (0.6725,0.785,0.7375,0.85), (0.6725,0.785,0.7375,0.85), (0.6725,0.785,0.7375,0.85), (0.6725,0.785,0.7375,0.85), (0.6725,0.785,0.7375,0.85), (0.6725,0.785,0.7375,0.85), (0.6725,0.785,0.7375,0.85), (0.6725,0.785,0.7375,0.85), (0.6725,0.785,0.7375,0.85), (0.6725,0.785,0.7375,0.85), (0.6725,0.785,0.7375,0.85), (0.6725,0.785,0.7375,0.85), (0.6725,0.785,0.7375,0.85), (0.6725,0.785,0.7375,0.85), (0.6725,0.785,0.7375,0.85), (0.6725,0.785,0.7375,0.85), (0.6725,0.785,0.7375,0.85)])
R(cell_6t, metal2, [(-0.035,-0.1,0.035,1.445), (-0.035,-0.1,0.035,1.445), (0.15,-0.1,0.22,1.445), (0.15,-0.1,0.22,1.445), (0.485,-0.1,0.555,1.445), (0.485,-0.1,0.555,1.445), (0.67,-0.1,0.74,1.445), (0.67,-0.1,0.74,1.445), (-0.0675,-0.035,0.0675,0.035), (-0.0675,-0.035,0.0675,0.035), (0.6375,-0.035,0.7725,0.035), (0.6375,-0.035,0.7725,0.035), (0.6375,-0.035,0.7725,0.035), (0.6375,-0.035,0.7725,0.035), (0.4925,-0.0325,0.55,0.0275), (0.67,-0.0325,0.74,1.3775), (-0.03,-0.03,0.03,0.0275), (0.1575,-0.025,0.2125,0.0275), (0.675,-0.025,0.735,0.0325), (0.22,0.2575,0.29,0.3925), (0.415,0.2575,0.485,0.3925), (-0.035,0.75,0.035,0.885), (-0.035,0.75,0.035,0.885), (-0.035,0.75,0.035,0.885), (-0.035,0.75,0.035,0.885), (-0.035,0.75,0.035,0.885), (-0.035,0.75,0.035,0.885), (0.67,0.75,0.74,0.885), (0.67,0.75,0.74,0.885), (0.67,0.75,0.74,0.885), (0.67,0.75,0.74,0.885), (0.67,0.75,0.74,0.885), (0.67,0.75,0.74,0.885), (0.67,0.75,0.74,0.885), (0.67,0.75,0.74,0.885), (0.67,0.75,0.74,0.885), (0.67,0.75,0.74,0.885), (0.67,0.75,0.74,0.885), (0.67,0.75,0.74,0.885), (0.67,0.75,0.74,0.885), (0.67,0.75,0.74,0.885), (0.67,0.75,0.74,0.885), (0.67,0.75,0.74,0.885), (0.67,0.75,0.74,0.885), (0.67,0.75,0.74,0.885), (0.67,0.75,0.74,0.885), (0.67,0.75,0.74,0.885), (0.67,0.75,0.74,0.885), (0.67,0.75,0.74,0.885), (0.67,0.75,0.74,0.885), (0.67,0.75,0.74,0.885)])
R(cell_6t, boundary2, [(0,0,0.705,1.345)])
cell_6t.add(gdstk.Label('gnd', (0,0.0175), layer=13, texttype=0))
cell_6t.add(gdstk.Label('gnd', (0.7025,0.015), layer=13, texttype=0))
cell_6t.add(gdstk.Label('BR', (0.52,0.0025), layer=13, texttype=0))
cell_6t.add(gdstk.Label('BL', (0.19,0.0025), layer=13, texttype=0))
cell_6t.add(gdstk.Label('l = 0.05', (0.645,1.1875), layer=230, texttype=0))
cell_6t.add(gdstk.Label('w = 0.09', (0.61,1.2975), layer=230, texttype=0))
cell_6t.add(gdstk.Label('l = 0.05', (0.06,1.1875), layer=230, texttype=0))
cell_6t.add(gdstk.Label('w = 0.09', (0.095,1.2975), layer=230, texttype=0))
cell_6t.add(gdstk.Label('l = 0.05', (0.575,0.65), layer=230, texttype=0))
cell_6t.add(gdstk.Label('w = 0.21', (0.61,0.4825), layer=230, texttype=0))
cell_6t.add(gdstk.Label('l = 0.05', (0.13,0.65), layer=230, texttype=0))
cell_6t.add(gdstk.Label('w = 0.21', (0.095,0.4825), layer=230, texttype=0))
cell_6t.add(gdstk.Label('l = 0.05', (0.565,0.295), layer=230, texttype=0))
cell_6t.add(gdstk.Label('w = 0.14', (0.53,0.1625), layer=230, texttype=0))
cell_6t.add(gdstk.Label('l = 0.05', (0.21,0.295), layer=230, texttype=0))
cell_6t.add(gdstk.Label('w = 0.14', (0.175,0.1625), layer=230, texttype=0))
cell_6t.add(gdstk.Label('vdd', (0.3425,1.355), layer=11, texttype=0))
cell_6t.add(gdstk.Label('WL', (-0.05,0.1475), layer=11, texttype=0))
cell_6t.add(gdstk.Label('gnd', (0.0875,-0.0075), layer=11, texttype=0))
cell_6t.add(gdstk.Label('BL', (0.15,-0.1), layer=13, texttype=0))
cell_6t.add(gdstk.Label('WL', (-0.09,0.1075), layer=11, texttype=0))
cell_6t.add(gdstk.Label('gnd', (-0.035,-0.1), layer=13, texttype=0))
cell_6t.add(gdstk.Label('gnd', (0.67,-0.1), layer=13, texttype=0))
cell_6t.add(gdstk.Label('gnd', (-0.09,-0.0325), layer=11, texttype=0))
cell_6t.add(gdstk.Label('vdd', (-0.09,1.3125), layer=11, texttype=0))
cell_6t.add(gdstk.Label('BR', (0.485,-0.1), layer=13, texttype=0))

bitline_load = lib.new_cell('bitline_load')
A(bitline_load, metal1, -0.09, 0.1075, 0.885, 0.065, 1, 3, 0, 1.205)
A(bitline_load, metal1, -0.09, 2.7975, 0.885, 0.065, 1, 3, 0, 1.205)
R(bitline_load, metal1, [(-0.09,-0.0325,0.795,0.0325), (-0.09,2.6575,0.795,2.7225), (-0.09,5.3475,0.795,5.4125)])
R(bitline_load, metal2, [(-0.035,-0.1,0.035,5.535), (0.15,-0.1,0.22,5.535), (0.485,-0.1,0.555,5.535), (0.67,-0.1,0.74,5.535)])
bitline_load.add(gdstk.Reference(cell_6t, (0,0)))
bitline_load.add(gdstk.Reference(cell_6t, (0,2.69), x_reflection=True))
bitline_load.add(gdstk.Reference(cell_6t, (0,2.69)))
bitline_load.add(gdstk.Reference(cell_6t, (0,5.38), x_reflection=True))
bitline_load.add(gdstk.Label('wl[3]', (-0.09,5.2075), layer=11, texttype=0))
bitline_load.add(gdstk.Label('bl[0]', (0.15,-0.1), layer=13, texttype=0))
bitline_load.add(gdstk.Label('wl[0]', (-0.09,0.1075), layer=11, texttype=0))
bitline_load.add(gdstk.Label('wl[1]', (-0.09,2.5175), layer=11, texttype=0))
bitline_load.add(gdstk.Label('wl[2]', (-0.09,2.7975), layer=11, texttype=0))
bitline_load.add(gdstk.Label('vdd', (-0.09,1.3125), layer=11, texttype=0))
bitline_load.add(gdstk.Label('vdd', (-0.09,4.0025), layer=11, texttype=0))
bitline_load.add(gdstk.Label('gnd', (-0.035,-0.1), layer=13, texttype=0))
bitline_load.add(gdstk.Label('gnd', (0.67,-0.1), layer=13, texttype=0))
bitline_load.add(gdstk.Label('gnd', (-0.09,-0.0325), layer=11, texttype=0))
bitline_load.add(gdstk.Label('gnd', (-0.09,2.6575), layer=11, texttype=0))
bitline_load.add(gdstk.Label('gnd', (-0.09,5.3475), layer=11, texttype=0))
bitline_load.add(gdstk.Label('br[0]', (0.485,-0.1), layer=13, texttype=0))

replica_bitline = lib.new_cell('replica_bitline')
R(replica_bitline, nwell, [(1.345,1.12,2.0175,2.8)])
R(replica_bitline, poly, [(1.7375,2.075,2.0625,2.125)])
A(replica_bitline, metal1, 3.1, 1.0875, 0.915, 0.065, 1, 3, 0, 2.69)
R(replica_bitline, metal1, [(-0.0325,0,0.0325,2.8), (0.56,0,0.625,2.925), (1.3125,0,1.3775,2.8), (2.03,0,2.095,0.765), (2.6575,0,2.7225,0.56), (4.015,0,4.08,7.9325), (2.6575,0.5275,3.1,0.5925), (3.1,0.5275,3.805,0.5925), (2.8625,0.695,3.285,0.76), (1.995,0.93,2.13,0.995), (2.03,0.995,2.095,1.325), (1.605,1.2925,1.67,1.3575), (1.6375,1.2925,2.0625,1.3575), (2.03,1.2925,2.095,1.3575), (2.0625,1.2925,2.8625,1.3575), (1.605,1.325,1.67,1.9725), (2.03,2.1,2.095,2.8), (2.03,2.1,2.095,2.325), (1.345,2.1625,1.57,2.2275), (2.03,2.2925,2.095,2.3575), (2.0625,2.2925,3.01,2.3575), (2.7225,2.5725,3.01,2.6375), (2.03,2.8,2.095,3.005), (2.7225,4.9825,3.01,5.0475), (2.7225,5.2625,3.01,5.3275), (2.7225,7.6725,3.01,7.7375), (2.6575,8.31,2.7225,12.4825)])
R(replica_bitline, metal2, [(2.655,0.56,2.725,8.31), (3.065,0.56,3.135,8), (3.77,0.56,3.84,8), (2.8275,0.7275,2.8975,1.325), (3.25,0.7275,3.32,1.0075)])
replica_bitline.add(gdstk.Reference(pinv_7, (2.69,1.12), rotation=3*pi/2, x_reflection=True))
replica_bitline.add(gdstk.Reference(pmos_m1_w0_09, (1.6825,1.96), rotation=pi/2))
replica_bitline.add(gdstk.Reference(delay_chain, (2.69,2.8), rotation=pi/2))
replica_bitline.add(gdstk.Reference(replica_cell_6t, (3.1,2.465), x_reflection=True))
replica_bitline.add(gdstk.Reference(bitline_load, (3.1,2.465)))
replica_bitline.add(gdstk.Reference(metal1_via1_metal2_1x1, (2.6875,2.5375)))
replica_bitline.add(gdstk.Reference(metal1_via1_metal2_1x1, (2.6875,4.9475)))
replica_bitline.add(gdstk.Reference(metal1_via1_metal2_1x1, (2.6875,5.2275)))
replica_bitline.add(gdstk.Reference(metal1_via1_metal2_1x1, (2.6875,7.6375)))
replica_bitline.add(gdstk.Reference(metal1_via1_metal2_1x1, (2.69,2.8)))
replica_bitline.add(gdstk.Reference(metal1_via1_metal2_1x1, (2.655,0.425)))
replica_bitline.add(gdstk.Reference(metal1_via1_metal2_1x1, (3.1675,0.525), rotation=pi/2))
replica_bitline.add(gdstk.Reference(metal1_via1_metal2_1x1, (3.8725,0.525), rotation=pi/2))
replica_bitline.add(gdstk.Reference(poly_contact_metal1_1x1, (2.025,2.0325)))
replica_bitline.add(gdstk.Reference(metal1_via1_metal2_1x1, (2.93,1.29), rotation=pi/2))
replica_bitline.add(gdstk.Reference(metal1_via1_metal2_1x1, (2.93,0.6925), rotation=pi/2))
replica_bitline.add(gdstk.Reference(metal1_via1_metal2_1x1, (3.3525,0.6925), rotation=pi/2))
replica_bitline.add(gdstk.Label('bl[0]', (1.995,0.93), layer=11, texttype=0))
replica_bitline.add(gdstk.Label('delayed_en', (2.03,2.8), layer=11, texttype=0))
replica_bitline.add(gdstk.Label('en', (0.56,0), layer=11, texttype=0))
replica_bitline.add(gdstk.Label('vdd', (4.015,0), layer=11, texttype=0))
replica_bitline.add(gdstk.Label('vdd', (1.3125,0), layer=11, texttype=0))
replica_bitline.add(gdstk.Label('gnd', (2.6575,0), layer=11, texttype=0))
replica_bitline.add(gdstk.Label('gnd', (-0.0325,0), layer=11, texttype=0))
replica_bitline.add(gdstk.Label('out', (2.03,0), layer=11, texttype=0))

lib.write_gds('replica_bitline.gds')
